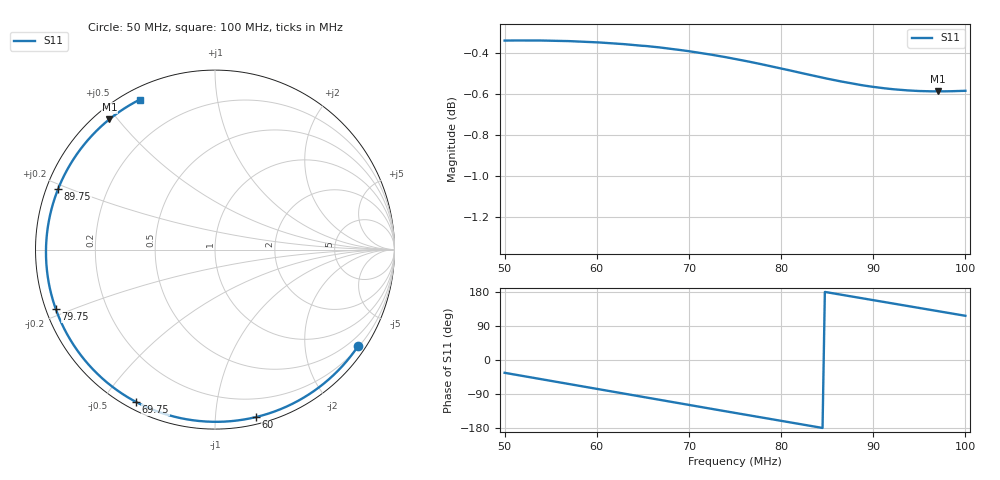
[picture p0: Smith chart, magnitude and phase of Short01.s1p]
!Agilent Technologies,E5072A,MY51200456,A.01.06
!Date: Mon Aug 31 08:09:31 2015
!Data & Calibration Information:
!Freq	S11:SOLT1(ON)
!PortZ  Port1:50+j0
!Above PortZ is port z conversion or system Z0 setting when saving the data.
!When reading, reference impedance value at option line is always used.
# Hz S dB R 50
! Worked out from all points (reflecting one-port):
!   201 points, 50 MHz to 100 MHz, reference 50 ohm
!   lowest |S11| = -0.6 dB at 97 MHz (marker M1), VSWR 29.58, Z = 2.07 + j23.8 ohm
!   phase of S11 starts at -34 deg and turns -210 deg over the sweep
!   S11 on the Smith chart (normalised r, x): 50 MHz: 0.23, -3.28; 60 MHz: 0.05, -1.27; 69.75 MHz: 0.03, -0.61; 79.75 MHz: 0.03, -0.18; 89.75 MHz: 0.03, +0.19; 100 MHz: 0.05, +0.62
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5e7  -0.34 -33.8
5.15e7  -0.34 -40.2
5.325e7  -0.34 -47.6
5.475e7  -0.34 -54.0
5.625e7  -0.34 -60.3
5.825e7  -0.35 -68.8
6e7  -0.35 -76.2
6.25e7  -0.36 -86.8
6.4e7  -0.36 -93.2
6.55e7  -0.37 -99.5
6.7e7  -0.37 -105.9
6.875e7  -0.38 -113.3
6.975e7  -0.39 -117.5
7.225e7  -0.41 -128.0
7.5e7  -0.43 -139.6
7.75e7  -0.45 -150.1
7.975e7  -0.47 -159.5
8.125e7  -0.49 -165.8
8.275e7  -0.50 -172.0
8.425e7  -0.52 -178.3
8.575e7  -0.53 175.5
8.75e7  -0.55 168.2
8.975e7  -0.56 158.9
9.175e7  -0.58 150.7
9.375e7  -0.58 142.5
9.7e7  -0.59 129.0
9.85e7  -0.59 122.9
1e8  -0.58 116.7
